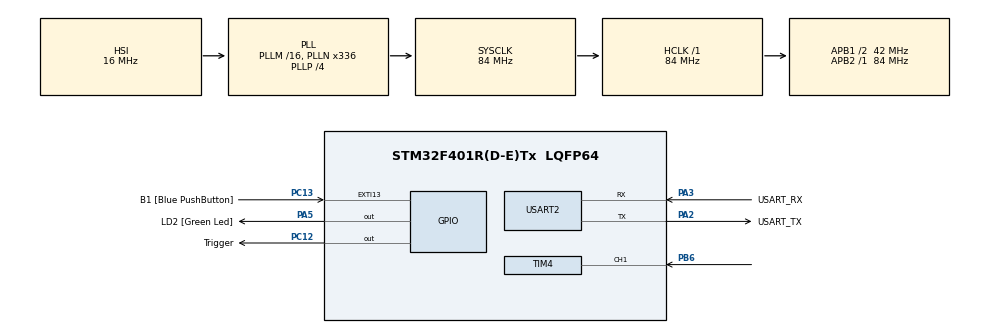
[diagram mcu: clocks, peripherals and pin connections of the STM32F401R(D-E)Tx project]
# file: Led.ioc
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Mcu.Family=STM32F4
Mcu.Name=STM32F401R(D-E)Tx
Mcu.Package=LQFP64
NVIC.PriorityGroup=NVIC_PRIORITYGROUP_0
NVIC.TIM4_IRQn=true\:0\:0\:false\:false\:true\:true\:true\:true
PA13.GPIO_Label=TMS
PA13.Mode=Serial_Wire
PA13.Signal=SYS_JTMS-SWDIO
PA14.GPIO_Label=TCK
PA14.Mode=Serial_Wire
PA14.Signal=SYS_JTCK-SWCLK
PA2.GPIO_Label=USART_TX
PA2.GPIO_Mode=GPIO_MODE_AF_PP
PA2.GPIO_PuPd=GPIO_NOPULL
PA2.GPIO_Speed=GPIO_SPEED_FREQ_LOW
PA2.Mode=Asynchronous
PA2.Signal=USART2_TX
PA3.GPIO_Label=USART_RX
PA3.GPIO_Mode=GPIO_MODE_AF_PP
PA3.GPIO_PuPd=GPIO_NOPULL
PA3.GPIO_Speed=GPIO_SPEED_FREQ_LOW
PA3.Mode=Asynchronous
PA3.Signal=USART2_RX
PA5.GPIO_Label=LD2 [Green Led]
PA5.GPIO_Mode=GPIO_MODE_OUTPUT_PP
PA5.GPIO_PuPd=GPIO_NOPULL
PA5.GPIO_Speed=GPIO_SPEED_FREQ_LOW
PA5.Signal=GPIO_Output
PB3.GPIO_Label=SWO
PB3.Signal=SYS_JTDO-SWO
PB6.Signal=S_TIM4_CH1
PC12.GPIO_Label=Trigger
PC12.Signal=GPIO_Output
PC13-ANTI_TAMP.GPIO_Label=B1 [Blue PushButton]
PC13-ANTI_TAMP.GPIO_ModeDefaultEXTI=GPIO_MODE_IT_FALLING
PC13-ANTI_TAMP.GPIO_PuPd=GPIO_NOPULL
PC13-ANTI_TAMP.Signal=GPXTI13
PC14-OSC32_IN.Mode=LSE-External-Oscillator
PC14-OSC32_IN.Signal=RCC_OSC32_IN
PC15-OSC32_OUT.Mode=LSE-External-Oscillator
PC15-OSC32_OUT.Signal=RCC_OSC32_OUT
PH0\ -\ OSC_IN.Mode=HSE-External-Clock-Source
PH0\ -\ OSC_IN.Signal=RCC_OSC_IN
PH1\ -\ OSC_OUT.Mode=HSE-External-Clock-Source
PH1\ -\ OSC_OUT.Signal=RCC_OSC_OUT
ProjectManager.HeapSize=0x200
ProjectManager.StackSize=0x400
ProjectManager.TargetToolchain=STM32CubeIDE
RCC.48MHZClocksFreq_Value=48000000
RCC.AHBFreq_Value=84000000
RCC.APB1CLKDivider=RCC_HCLK_DIV2
RCC.APB1Freq_Value=42000000
RCC.APB1TimFreq_Value=84000000
RCC.APB2Freq_Value=84000000
RCC.APB2TimFreq_Value=84000000
RCC.CortexFreq_Value=84000000
RCC.HCLKFreq_Value=84000000
RCC.HSE_VALUE=8000000
RCC.HSI_VALUE=16000000
RCC.PLLN=336
RCC.PLLP=RCC_PLLP_DIV4
RCC.PLLQ=7
RCC.SYSCLKFreq_VALUE=84000000
RCC.SYSCLKSource=RCC_SYSCLKSOURCE_PLLCLK
RCC.VCOOutputFreq_Value=336000000
SH.S_TIM4_CH1.0=TIM4_CH1,Input_Capture1_from_TI1
TIM3.Prescaler=84-1
TIM4.Channel-Input_Capture1_from_TI1=TIM_CHANNEL_1
TIM4.ICPolarity_CH1=TIM_INPUTCHANNELPOLARITY_BOTHEDGE
TIM4.Prescaler=84-1
USART2.VirtualMode=VM_ASYNC
VP_TIM3_VS_ClockSourceINT.Mode=Internal
VP_TIM4_VS_ClockSourceINT.Mode=Internal
board=NUCLEO-F401RE

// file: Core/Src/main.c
/* USER CODE BEGIN Header */
/**
  ******************************************************************************
  * @file           : main.c
  * @brief          : Main program body
  ******************************************************************************
  * @attention
  *
  * Copyright (c) 2024 STMicroelectronics.
  * All rights reserved.
  *
  * This software is licensed under terms that can be found in the LICENSE file
  * in the root directory of this software component.
  * If no LICENSE file comes with this software, it is provided AS-IS.
  *
  ******************************************************************************
  */
/* USER CODE END Header */
#include "main.h"

/* USER CODE BEGIN Includes */
#include "stdio.h"
#include "string.h"
/* USER CODE END Includes */

TIM_HandleTypeDef htim3;
TIM_HandleTypeDef htim4;

UART_HandleTypeDef huart2;

void SystemClock_Config(void);
static void MX_GPIO_Init(void);
static void MX_USART2_UART_Init(void);
static void MX_TIM3_Init(void);
static void MX_TIM4_Init(void);
/* USER CODE BEGIN PFP */
void usDelay(uint32_t uSec);

/* USER CODE END PFP */

/* USER CODE BEGIN 0 */
uint8_t icFlag=0;
uint8_t captureIdx=0;
uint32_t upEdgeTime=0, dwEdgeTime=0;

const float velocitaSuono=0.0343;
float distanza=0;

char uartBuf[100];

void usDelay(uint32_t time)

{

    __HAL_TIM_SET_COUNTER(&htim3, 0);

    while (__HAL_TIM_GET_COUNTER(&htim3) < time);

}

/* USER CODE END 0 */

int main(void)
{

  /* MCU Configuration--------------------------------------------------------*/

  /* Reset of all peripherals, Initializes the Flash interface and the Systick. */
  HAL_Init();

  /* Configure the system clock */
  SystemClock_Config();

  /* Initialize all configured peripherals */
  MX_GPIO_Init();
  MX_USART2_UART_Init();
  MX_TIM3_Init();
  MX_TIM4_Init();
  /* USER CODE BEGIN 2 */

  HAL_TIM_Base_Start(&htim3);

  /* USER CODE END 2 */

  /* Infinite loop */
  /* USER CODE BEGIN WHILE */
  while (1)
  {
	  HAL_GPIO_WritePin(Trigger_GPIO_Port, Trigger_Pin, GPIO_PIN_SET);

	    usDelay(10);         // 10 uSec di ritardo

	    HAL_GPIO_WritePin(Trigger_GPIO_Port, Trigger_Pin, GPIO_PIN_RESET);

	    //Start IC timer

	    HAL_TIM_IC_Start_IT(&htim4, TIM_CHANNEL_1);

	    //Wait for IC flag

	    uint32_t startTick = HAL_GetTick();

	    do{

	        if(icFlag) break;

	        // Arrivato il secondo fronte esce

	    }  while ((HAL_GetTick() - startTick) < 500);    //500ms di timeout aspettando il secondo fronte

	    HAL_TIM_IC_Stop_IT(&htim4, TIM_CHANNEL_1);

	    icFlag = 0;

	    //Calcolo distanza in cm

	    if(dwEdgeTime > upEdgeTime)

	    {

	        distanza = ((dwEdgeTime- upEdgeTime) + 0.0f) * velocitaSuono/2;

	    }

	    sprintf(uartBuf, "Distance =%.1f start: %f end: %f\r\n",distanza, upEdgeTime+ 0.0f,dwEdgeTime+ 0.0f);
	    HAL_UART_Transmit(&huart2, uartBuf, strlen(uartBuf), 100);
	    HAL_Delay(1000);
    /* USER CODE END WHILE */

  }
}

void SystemClock_Config(void)
{
  RCC_OscInitTypeDef RCC_OscInitStruct = {0};
  RCC_ClkInitTypeDef RCC_ClkInitStruct = {0};

  /** Configure the main internal regulator output voltage
  */
  __HAL_RCC_PWR_CLK_ENABLE();
  __HAL_PWR_VOLTAGESCALING_CONFIG(PWR_REGULATOR_VOLTAGE_SCALE2);

  /** Initializes the RCC Oscillators according to the specified parameters
  * in the RCC_OscInitTypeDef structure.
  */
  RCC_OscInitStruct.OscillatorType = RCC_OSCILLATORTYPE_HSI;
  RCC_OscInitStruct.HSIState = RCC_HSI_ON;
  RCC_OscInitStruct.HSICalibrationValue = RCC_HSICALIBRATION_DEFAULT;
  RCC_OscInitStruct.PLL.PLLState = RCC_PLL_ON;
  RCC_OscInitStruct.PLL.PLLSource = RCC_PLLSOURCE_HSI;
  RCC_OscInitStruct.PLL.PLLM = 16;
  RCC_OscInitStruct.PLL.PLLN = 336;
  RCC_OscInitStruct.PLL.PLLP = RCC_PLLP_DIV4;
  RCC_OscInitStruct.PLL.PLLQ = 7;
  if (HAL_RCC_OscConfig(&RCC_OscInitStruct) != HAL_OK)
  {
    Error_Handler();
  }

  /** Initializes the CPU, AHB and APB buses clocks
  */
  RCC_ClkInitStruct.ClockType = RCC_CLOCKTYPE_HCLK|RCC_CLOCKTYPE_SYSCLK
                              |RCC_CLOCKTYPE_PCLK1|RCC_CLOCKTYPE_PCLK2;
  RCC_ClkInitStruct.SYSCLKSource = RCC_SYSCLKSOURCE_PLLCLK;
  RCC_ClkInitStruct.AHBCLKDivider = RCC_SYSCLK_DIV1;
  RCC_ClkInitStruct.APB1CLKDivider = RCC_HCLK_DIV2;
  RCC_ClkInitStruct.APB2CLKDivider = RCC_HCLK_DIV1;

  if (HAL_RCC_ClockConfig(&RCC_ClkInitStruct, FLASH_LATENCY_2) != HAL_OK)
  {
    Error_Handler();
  }
}

static void MX_TIM3_Init(void)
{

  TIM_ClockConfigTypeDef sClockSourceConfig = {0};
  TIM_MasterConfigTypeDef sMasterConfig = {0};

  htim3.Instance = TIM3;
  htim3.Init.Prescaler = 84-1;
  htim3.Init.CounterMode = TIM_COUNTERMODE_UP;
  htim3.Init.Period = 65535;
  htim3.Init.ClockDivision = TIM_CLOCKDIVISION_DIV1;
  htim3.Init.AutoReloadPreload = TIM_AUTORELOAD_PRELOAD_DISABLE;
  if (HAL_TIM_Base_Init(&htim3) != HAL_OK)
  {
    Error_Handler();
  }
  sClockSourceConfig.ClockSource = TIM_CLOCKSOURCE_INTERNAL;
  if (HAL_TIM_ConfigClockSource(&htim3, &sClockSourceConfig) != HAL_OK)
  {
    Error_Handler();
  }
  sMasterConfig.MasterOutputTrigger = TIM_TRGO_RESET;
  sMasterConfig.MasterSlaveMode = TIM_MASTERSLAVEMODE_DISABLE;
  if (HAL_TIMEx_MasterConfigSynchronization(&htim3, &sMasterConfig) != HAL_OK)
  {
    Error_Handler();
  }

}

static void MX_TIM4_Init(void)
{

  TIM_ClockConfigTypeDef sClockSourceConfig = {0};
  TIM_MasterConfigTypeDef sMasterConfig = {0};
  TIM_IC_InitTypeDef sConfigIC = {0};

  htim4.Instance = TIM4;
  htim4.Init.Prescaler = 84-1;
  htim4.Init.CounterMode = TIM_COUNTERMODE_UP;
  htim4.Init.Period = 65535;
  htim4.Init.ClockDivision = TIM_CLOCKDIVISION_DIV1;
  htim4.Init.AutoReloadPreload = TIM_AUTORELOAD_PRELOAD_DISABLE;
  if (HAL_TIM_Base_Init(&htim4) != HAL_OK)
  {
    Error_Handler();
  }
  sClockSourceConfig.ClockSource = TIM_CLOCKSOURCE_INTERNAL;
  if (HAL_TIM_ConfigClockSource(&htim4, &sClockSourceConfig) != HAL_OK)
  {
    Error_Handler();
  }
  if (HAL_TIM_IC_Init(&htim4) != HAL_OK)
  {
    Error_Handler();
  }
  sMasterConfig.MasterOutputTrigger = TIM_TRGO_RESET;
  sMasterConfig.MasterSlaveMode = TIM_MASTERSLAVEMODE_DISABLE;
  if (HAL_TIMEx_MasterConfigSynchronization(&htim4, &sMasterConfig) != HAL_OK)
  {
    Error_Handler();
  }
  sConfigIC.ICPolarity = TIM_INPUTCHANNELPOLARITY_BOTHEDGE;
  sConfigIC.ICSelection = TIM_ICSELECTION_DIRECTTI;
  sConfigIC.ICPrescaler = TIM_ICPSC_DIV1;
  sConfigIC.ICFilter = 0;
  if (HAL_TIM_IC_ConfigChannel(&htim4, &sConfigIC, TIM_CHANNEL_1) != HAL_OK)
  {
    Error_Handler();
  }

}

static void MX_USART2_UART_Init(void)
{

  huart2.Instance = USART2;
  huart2.Init.BaudRate = 115200;
  huart2.Init.WordLength = UART_WORDLENGTH_8B;
  huart2.Init.StopBits = UART_STOPBITS_1;
  huart2.Init.Parity = UART_PARITY_NONE;
  huart2.Init.Mode = UART_MODE_TX_RX;
  huart2.Init.HwFlowCtl = UART_HWCONTROL_NONE;
  huart2.Init.OverSampling = UART_OVERSAMPLING_16;
  if (HAL_UART_Init(&huart2) != HAL_OK)
  {
    Error_Handler();
  }

}

static void MX_GPIO_Init(void)
{
  GPIO_InitTypeDef GPIO_InitStruct = {0};

  /* GPIO Ports Clock Enable */
  __HAL_RCC_GPIOC_CLK_ENABLE();
  __HAL_RCC_GPIOH_CLK_ENABLE();
  __HAL_RCC_GPIOA_CLK_ENABLE();
  __HAL_RCC_GPIOB_CLK_ENABLE();

  /*Configure GPIO pin Output Level */
  HAL_GPIO_WritePin(LD2_GPIO_Port, LD2_Pin, GPIO_PIN_RESET);

  /*Configure GPIO pin Output Level */
  HAL_GPIO_WritePin(Trigger_GPIO_Port, Trigger_Pin, GPIO_PIN_RESET);

  /*Configure GPIO pin : B1_Pin */
  GPIO_InitStruct.Pin = B1_Pin;
  GPIO_InitStruct.Mode = GPIO_MODE_IT_FALLING;
  GPIO_InitStruct.Pull = GPIO_NOPULL;
  HAL_GPIO_Init(B1_GPIO_Port, &GPIO_InitStruct);

  /*Configure GPIO pin : LD2_Pin */
  GPIO_InitStruct.Pin = LD2_Pin;
  GPIO_InitStruct.Mode = GPIO_MODE_OUTPUT_PP;
  GPIO_InitStruct.Pull = GPIO_NOPULL;
  GPIO_InitStruct.Speed = GPIO_SPEED_FREQ_LOW;
  HAL_GPIO_Init(LD2_GPIO_Port, &GPIO_InitStruct);

  /*Configure GPIO pin : Trigger_Pin */
  GPIO_InitStruct.Pin = Trigger_Pin;
  GPIO_InitStruct.Mode = GPIO_MODE_OUTPUT_PP;
  GPIO_InitStruct.Pull = GPIO_NOPULL;
  GPIO_InitStruct.Speed = GPIO_SPEED_FREQ_LOW;
  HAL_GPIO_Init(Trigger_GPIO_Port, &GPIO_InitStruct);

}

/* USER CODE BEGIN 4 */
void HAL_TIM_IC_CaptureCallback(TIM_HandleTypeDef *htim)

{

	HAL_GPIO_TogglePin(GPIOA, GPIO_PIN_5);
    // Funzione di gestione interrupt timer

    if(captureIdx == 0)   // Up edge
    {
        upEdgeTime = HAL_TIM_ReadCapturedValue(htim, TIM_CHANNEL_1);

        captureIdx = 1;
    }
    else if(captureIdx == 1)   // Down Edge
    {
        dwEdgeTime = HAL_TIM_ReadCapturedValue(htim, TIM_CHANNEL_1);
        captureIdx = 0;
        icFlag = 1;
    }
}
/* USER CODE END 4 */

void Error_Handler(void)
{
  __disable_irq();
  while (1)
  {
  }
}
